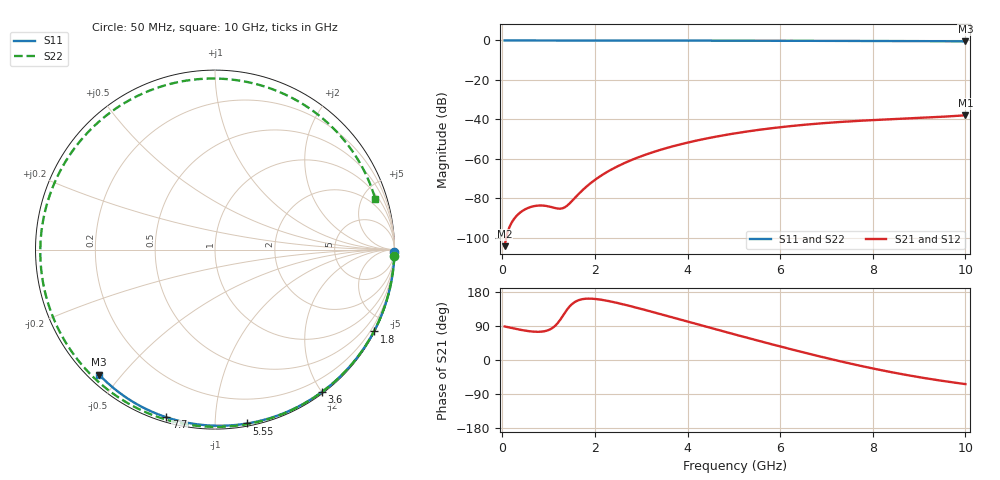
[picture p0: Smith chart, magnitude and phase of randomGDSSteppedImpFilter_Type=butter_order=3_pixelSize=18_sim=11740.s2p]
! freq	dB(S11)	phase(S11)	dB(S12)	phase(S12)
!  dB(S21)	phase(S21)	dB(S22)	phase(S22)
!S-par simulation data
#  GHz  S  DB  R 50
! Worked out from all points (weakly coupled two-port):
!   200 points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, 50 MHz to 10 GHz, reference 50 ohm
!   highest |S21| = -37.90 dB at 10 GHz (marker M1); lowest = -104.2 dB at 50 MHz (marker M2)
!   lowest |S11| = -0.4 dB at 10 GHz (marker M3), VSWR 38.73, Z = 1.54 - j21.8 ohm
!   |S11| at or under -10 dB: nowhere
!   |S22| runs from -0.6 to 0.0 dB; largest |S21 - S12| = 0
!   S11 on the Smith chart (normalised r, x): 50 MHz: open; 1.8 GHz: 0.04, -4.13; 3.6 GHz: 0.02, -1.99; 5.55 GHz: 0.02, -1.20; 7.7 GHz: 0.02, -0.75; 10 GHz: 0.03, -0.44
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0.05  -0.00 -0.8  -104.19 88.5  -104.19 88.5  -0.00 -2.1
0.75  -0.01 -11.5  -83.68 74.4  -83.68 74.4  -0.04 -30.5
1.15  -0.02 -17.5  -84.92 91.2  -84.92 91.2  -0.06 -46.3
1.55  -0.03 -23.5  -80.18 151.8  -80.18 151.8  -0.08 -61.6
1.75  -0.03 -26.5  -75.45 161.0  -75.45 161.0  -0.08 -69.1
1.8  -0.03 -27.2  -74.39 161.7  -74.39 161.7  -0.09 -70.9
2.1  -0.04 -31.7  -68.98 159.7  -68.98 159.7  -0.10 -81.8
2.45  -0.05 -36.8  -64.21 151.5  -64.21 151.5  -0.11 -94.2
2.9  -0.06 -43.3  -59.52 138.0  -59.52 138.0  -0.13 -109.5
3.4  -0.07 -50.4  -55.50 121.6  -55.50 121.6  -0.15 -125.8
3.6  -0.07 -53.3  -54.14 114.9  -54.14 114.9  -0.16 -132.2
4.35  -0.09 -63.6  -49.94 89.7  -49.94 89.7  -0.19 -155.6
5.05  -0.11 -73.0  -46.96 66.5  -46.96 66.5  -0.23 -177.0
5.55  -0.13 -79.5  -45.25 50.2  -45.25 50.2  -0.26 167.7
6.1  -0.15 -86.6  -43.69 32.6  -43.69 32.6  -0.29 150.6
6.7  -0.18 -94.0  -42.33 14.1  -42.33 14.1  -0.33 131.4
7.2  -0.21 -100.2  -41.44 -0.6  -41.44 -0.6  -0.37 114.9
7.7  -0.24 -106.2  -40.71 -14.5  -40.71 -14.5  -0.40 98.0
8.35  -0.29 -113.9  -39.94 -30.9  -39.94 -30.9  -0.44 75.3
8.8  -0.33 -119.1  -39.46 -41.1  -39.46 -41.1  -0.47 59.4
9.25  -0.37 -124.3  -38.95 -50.3  -38.95 -50.3  -0.50 43.5
10  -0.45 -132.9  -37.90 -63.5  -37.90 -63.5  -0.57 17.5
